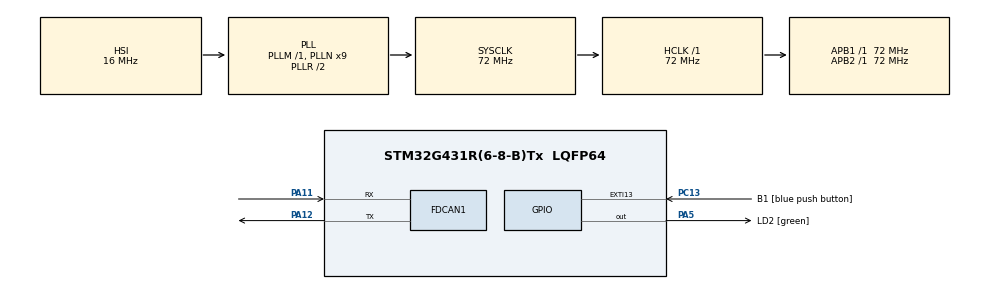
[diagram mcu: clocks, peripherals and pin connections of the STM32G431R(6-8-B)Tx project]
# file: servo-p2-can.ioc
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FDCAN1.CalculateBaudRateNominal=500000
FDCAN1.CalculateTimeBitNominal=2000
FDCAN1.CalculateTimeQuantumNominal=13.88888888888889
FDCAN1.NominalPrescaler=1
FDCAN1.NominalSyncJumpWidth=36
FDCAN1.NominalTimeSeg1=107
FDCAN1.NominalTimeSeg2=36
Mcu.Family=STM32G4
Mcu.Name=STM32G431R(6-8-B)Tx
Mcu.Package=LQFP64
NVIC.PriorityGroup=NVIC_PRIORITYGROUP_4
PA11.Mode=FDCAN_Activate
PA11.Signal=FDCAN1_RX
PA12.Mode=FDCAN_Activate
PA12.Signal=FDCAN1_TX
PA13.GPIO_Label=T_SWDIO
PA13.Signal=SYS_JTMS-SWDIO
PA14.GPIO_Label=T_SWCLK
PA14.Signal=SYS_JTCK-SWCLK
PA2.GPIO_Label=LPUART1_TX [STLINKV3E_VCP_RX]
PA2.Signal=LPUART1_TX
PA3.GPIO_Label=LPUART1_RX [STLINKV3E_VCP_TX]
PA3.Signal=LPUART1_RX
PA5.GPIO_Label=LD2 [green]
PA5.Signal=GPIO_Output
PB3.GPIO_Label=T_SWO
PB3.Signal=SYS_JTDO-SWO
PC13.GPIO_Label=B1 [blue push button]
PC13.Signal=GPXTI13
PC14-OSC32_IN.GPIO_Label=RCC_OSC32_OUT
PC14-OSC32_IN.Signal=RCC_OSC32_IN
PC15-OSC32_OUT.GPIO_Label=RCC_OSC32_OUT
PC15-OSC32_OUT.Signal=RCC_OSC32_OUT
PF0-OSC_IN.GPIO_Label=RCC_OSC_IN
PF0-OSC_IN.Signal=RCC_OSC_IN
PF1-OSC_OUT.GPIO_Label=RCC_OSC_OUT
PF1-OSC_OUT.Signal=RCC_OSC_OUT
ProjectManager.HeapSize=0x200
ProjectManager.StackSize=0x400
ProjectManager.TargetToolchain=STM32CubeIDE
RCC.ADC12Freq_Value=72000000
RCC.AHBFreq_Value=72000000
RCC.APB1Freq_Value=72000000
RCC.APB1TimFreq_Value=72000000
RCC.APB2Freq_Value=72000000
RCC.APB2TimFreq_Value=72000000
RCC.CortexFreq_Value=72000000
RCC.EXTERNAL_CLOCK_VALUE=12288000
RCC.HCLKFreq_Value=72000000
RCC.HSE_VALUE=24000000
RCC.HSI48_VALUE=48000000
RCC.HSI_VALUE=16000000
RCC.LSE_VALUE=32768
RCC.PLLN=9
RCC.RTCClockSelection=RCC_RTCCLKSOURCE_LSE
RCC.SYSCLKFreq_VALUE=72000000
RCC.SYSCLKSource=RCC_SYSCLKSOURCE_PLLCLK
RCC.USBFreq_Value=72000000
RCC.VCOOutputFreq_Value=144000000
VP_SYS_VS_DBSignals.Mode=DisableDeadBatterySignals
board=NUCLEO-G431RB

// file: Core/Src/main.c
/* USER CODE BEGIN Header */
/**
  ******************************************************************************
  * @file           : main.c
  * @brief          : Main program body
  ******************************************************************************
  * @attention
  *
  * Copyright (c) 2024 STMicroelectronics.
  * All rights reserved.
  *
  * This software is licensed under terms that can be found in the LICENSE file
  * in the root directory of this software component.
  * If no LICENSE file comes with this software, it is provided AS-IS.
  *
  ******************************************************************************
  */
/* USER CODE END Header */
#include "main.h"

FDCAN_HandleTypeDef hfdcan1;

/* USER CODE BEGIN PV */

// TODO 1: Create the necessary variables to send a CAN message
FDCAN_TxHeaderTypeDef TxHeader;
uint8_t TxData[1];

/* USER CODE END PV */

void SystemClock_Config(void);
static void MX_GPIO_Init(void);
static void MX_FDCAN1_Init(void);

int main(void)
{

  /* MCU Configuration--------------------------------------------------------*/

  /* Reset of all peripherals, Initializes the Flash interface and the Systick. */
  HAL_Init();

  /* Configure the system clock */
  SystemClock_Config();

  /* Initialize all configured peripherals */
  MX_GPIO_Init();
  MX_FDCAN1_Init();
  /* USER CODE BEGIN 2 */

  // TODO 2: Start the CAN peripheral
  HAL_FDCAN_Start(&hfdcan1);

  // TODO 3: Form the CAN message header
  /**
    * @brief  FDCAN Tx header structure definition
    */
  typedef struct
  {
    uint32_t Identifier;          /*!< Specifies the identifier.
                                       This parameter must be a number between:
                                        - 0 and 0x7FF, if IdType is FDCAN_STANDARD_ID
                                        - 0 and 0x1FFFFFFF, if IdType is FDCAN_EXTENDED_ID               */

    uint32_t IdType;              /*!< Specifies the identifier type for the message that will be
                                       transmitted.
                                       This parameter can be a value of @ref FDCAN_id_type               */

    uint32_t TxFrameType;         /*!< Specifies the frame type of the message that will be transmitted.
                                       This parameter can be a value of @ref FDCAN_frame_type            */

    uint32_t DataLength;          /*!< Specifies the length of the frame that will be transmitted.
                                        This parameter can be a value of @ref FDCAN_data_length_code     */

    uint32_t ErrorStateIndicator; /*!< Specifies the error state indicator.
                                       This parameter can be a value of @ref FDCAN_error_state_indicator */

    uint32_t BitRateSwitch;       /*!< Specifies whether the Tx frame will be transmitted with or without
                                       bit rate switching.
                                       This parameter can be a value of @ref FDCAN_bit_rate_switching    */

    uint32_t FDFormat;            /*!< Specifies whether the Tx frame will be transmitted in classic or
                                       FD format.
                                       This parameter can be a value of @ref FDCAN_format                */

    uint32_t TxEventFifoControl;  /*!< Specifies the event FIFO control.
                                       This parameter can be a value of @ref FDCAN_EFC                   */

    uint32_t MessageMarker;       /*!< Specifies the message marker to be copied into Tx Event FIFO
                                       element for identification of Tx message status.
                                       This parameter must be a number between 0 and 0xFF                */

  } FDCAN_TxHeaderTypeDef;

  // In TODO 1:
  // FDCAN_TxHeaderTypeDef TxHeader;

  TxHeader.Identifier = 2024;
  TxHeader.IdType = FDCAN_STANDARD_ID;
  TxHeader.TxFrameType = FDCAN_DATA_FRAME;
  TxHeader.DataLength = FDCAN_DLC_BYTES_8;
  TxHeader.ErrorStateIndicator = FDCAN_ESI_ACTIVE;
  TxHeader.BitRateSwitch = FDCAN_BRS_OFF;
  TxHeader.FDFormat = FDCAN_CLASSIC_CAN;
  TxHeader.TxEventFifoControl = FDCAN_NO_TX_EVENTS;
  TxHeader.MessageMarker = 0;

  /* USER CODE END 2 */

  /* Infinite loop */
  /* USER CODE BEGIN WHILE */
  while (1)
  {
	  HAL_Delay(500);
    // TODO 4: Send a CAN message to rotate the servo to 0 degrees
	  TxData[0] = 0;
	  HAL_FDCAN_AddMessageToTxFifoQ(&hfdcan1, &TxHeader, TxData);

	  HAL_Delay(500);
	// TODO 5: Send a CAN message to rotate the servo to 90 degrees
	  TxData[0] = 90;
	  	  HAL_FDCAN_AddMessageToTxFifoQ(&hfdcan1, &TxHeader, TxData);

	  HAL_Delay(500);
    // TODO 6: Send a CAN message to rotate the servo to 180 degrees
	  TxData[0] = 180;
	  	  HAL_FDCAN_AddMessageToTxFifoQ(&hfdcan1, &TxHeader, TxData);

    /* USER CODE END WHILE */

  }
}

void SystemClock_Config(void)
{
  RCC_OscInitTypeDef RCC_OscInitStruct = {0};
  RCC_ClkInitTypeDef RCC_ClkInitStruct = {0};

  /** Configure the main internal regulator output voltage
  */
  HAL_PWREx_ControlVoltageScaling(PWR_REGULATOR_VOLTAGE_SCALE1);

  /** Initializes the RCC Oscillators according to the specified parameters
  * in the RCC_OscInitTypeDef structure.
  */
  RCC_OscInitStruct.OscillatorType = RCC_OSCILLATORTYPE_HSI;
  RCC_OscInitStruct.HSIState = RCC_HSI_ON;
  RCC_OscInitStruct.HSICalibrationValue = RCC_HSICALIBRATION_DEFAULT;
  RCC_OscInitStruct.PLL.PLLState = RCC_PLL_ON;
  RCC_OscInitStruct.PLL.PLLSource = RCC_PLLSOURCE_HSI;
  RCC_OscInitStruct.PLL.PLLM = RCC_PLLM_DIV1;
  RCC_OscInitStruct.PLL.PLLN = 9;
  RCC_OscInitStruct.PLL.PLLP = RCC_PLLP_DIV2;
  RCC_OscInitStruct.PLL.PLLQ = RCC_PLLQ_DIV2;
  RCC_OscInitStruct.PLL.PLLR = RCC_PLLR_DIV2;
  if (HAL_RCC_OscConfig(&RCC_OscInitStruct) != HAL_OK)
  {
    Error_Handler();
  }

  /** Initializes the CPU, AHB and APB buses clocks
  */
  RCC_ClkInitStruct.ClockType = RCC_CLOCKTYPE_HCLK|RCC_CLOCKTYPE_SYSCLK
                              |RCC_CLOCKTYPE_PCLK1|RCC_CLOCKTYPE_PCLK2;
  RCC_ClkInitStruct.SYSCLKSource = RCC_SYSCLKSOURCE_PLLCLK;
  RCC_ClkInitStruct.AHBCLKDivider = RCC_SYSCLK_DIV1;
  RCC_ClkInitStruct.APB1CLKDivider = RCC_HCLK_DIV1;
  RCC_ClkInitStruct.APB2CLKDivider = RCC_HCLK_DIV1;

  if (HAL_RCC_ClockConfig(&RCC_ClkInitStruct, FLASH_LATENCY_2) != HAL_OK)
  {
    Error_Handler();
  }
}

static void MX_FDCAN1_Init(void)
{

  hfdcan1.Instance = FDCAN1;
  hfdcan1.Init.ClockDivider = FDCAN_CLOCK_DIV1;
  hfdcan1.Init.FrameFormat = FDCAN_FRAME_CLASSIC;
  hfdcan1.Init.Mode = FDCAN_MODE_NORMAL;
  hfdcan1.Init.AutoRetransmission = DISABLE;
  hfdcan1.Init.TransmitPause = DISABLE;
  hfdcan1.Init.ProtocolException = DISABLE;
  hfdcan1.Init.NominalPrescaler = 1;
  hfdcan1.Init.NominalSyncJumpWidth = 36;
  hfdcan1.Init.NominalTimeSeg1 = 107;
  hfdcan1.Init.NominalTimeSeg2 = 36;
  hfdcan1.Init.DataPrescaler = 1;
  hfdcan1.Init.DataSyncJumpWidth = 1;
  hfdcan1.Init.DataTimeSeg1 = 1;
  hfdcan1.Init.DataTimeSeg2 = 1;
  hfdcan1.Init.StdFiltersNbr = 0;
  hfdcan1.Init.ExtFiltersNbr = 0;
  hfdcan1.Init.TxFifoQueueMode = FDCAN_TX_FIFO_OPERATION;
  if (HAL_FDCAN_Init(&hfdcan1) != HAL_OK)
  {
    Error_Handler();
  }

}

static void MX_GPIO_Init(void)
{
  GPIO_InitTypeDef GPIO_InitStruct = {0};

  /* GPIO Ports Clock Enable */
  __HAL_RCC_GPIOC_CLK_ENABLE();
  __HAL_RCC_GPIOF_CLK_ENABLE();
  __HAL_RCC_GPIOA_CLK_ENABLE();
  __HAL_RCC_GPIOB_CLK_ENABLE();

  /*Configure GPIO pin Output Level */
  HAL_GPIO_WritePin(LD2_GPIO_Port, LD2_Pin, GPIO_PIN_RESET);

  /*Configure GPIO pin : B1_Pin */
  GPIO_InitStruct.Pin = B1_Pin;
  GPIO_InitStruct.Mode = GPIO_MODE_IT_RISING;
  GPIO_InitStruct.Pull = GPIO_NOPULL;
  HAL_GPIO_Init(B1_GPIO_Port, &GPIO_InitStruct);

  /*Configure GPIO pins : LPUART1_TX_Pin LPUART1_RX_Pin */
  GPIO_InitStruct.Pin = LPUART1_TX_Pin|LPUART1_RX_Pin;
  GPIO_InitStruct.Mode = GPIO_MODE_AF_PP;
  GPIO_InitStruct.Pull = GPIO_NOPULL;
  GPIO_InitStruct.Speed = GPIO_SPEED_FREQ_LOW;
  GPIO_InitStruct.Alternate = GPIO_AF12_LPUART1;
  HAL_GPIO_Init(GPIOA, &GPIO_InitStruct);

  /*Configure GPIO pin : LD2_Pin */
  GPIO_InitStruct.Pin = LD2_Pin;
  GPIO_InitStruct.Mode = GPIO_MODE_OUTPUT_PP;
  GPIO_InitStruct.Pull = GPIO_NOPULL;
  GPIO_InitStruct.Speed = GPIO_SPEED_FREQ_LOW;
  HAL_GPIO_Init(LD2_GPIO_Port, &GPIO_InitStruct);

}

void Error_Handler(void)
{
  __disable_irq();
  while (1)
  {
  }
}
